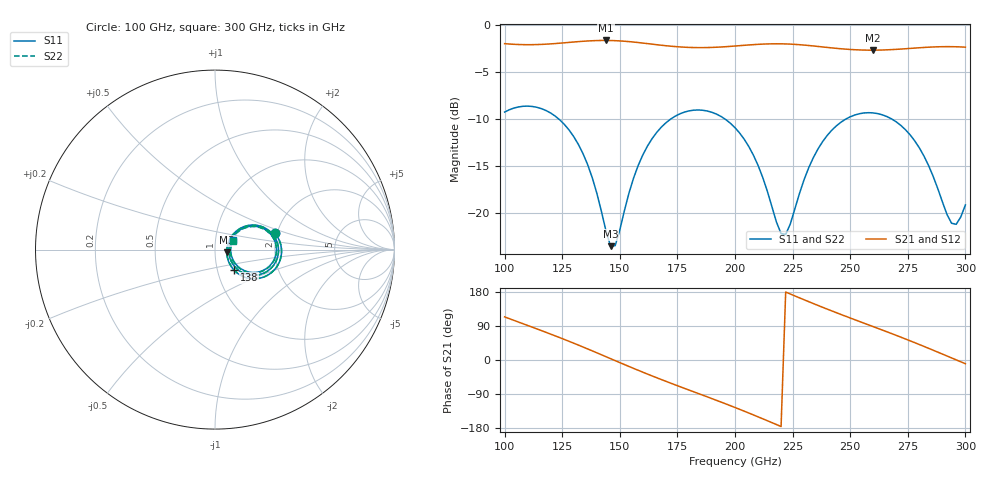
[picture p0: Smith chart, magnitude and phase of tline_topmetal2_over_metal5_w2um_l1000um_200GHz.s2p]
#  GHZ S DB R 50
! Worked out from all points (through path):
!   101 points, 100 GHz to 300 GHz, reference 50 ohm
!   highest |S21| = -1.64 dB at 144 GHz (marker M1); lowest = -2.7 dB at 260 GHz (marker M2)
!   group delay of S21, straight-line fit = 6.72 ps
!   lowest |S11| = -23.5 dB at 146 GHz (marker M3), VSWR 1.14, Z = 56.9 - j1.84 ohm
!   |S11| at or under -10 dB: 123.6 GHz to 172 GHz (48.37 GHz wide, 32.7 % of centre); 195.8 GHz to 248 GHz (52.19 GHz wide, 23.5 % of centre); 268.2 GHz to end of sweep
!   |S22| runs from -23.4 to -8.6 dB; largest |S21 - S12| = 9.4e-14
!   S11 on the Smith chart (normalised r, x): 100 GHz: 1.94, +0.41; 138 GHz: 1.20, -0.28; 300 GHz: 1.21, +0.13
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100  -9.24 15.5  -1.98 113.8  -1.98 113.8  -9.24 15.5
118  -9.08 -18.1  -2.03 72.9  -2.03 72.9  -9.08 -18.1
126  -10.57 -32.6  -1.89 54.1  -1.89 54.1  -10.57 -32.6
134  -13.64 -44.6  -1.73 34.4  -1.73 34.4  -13.63 -44.6
138  -16.18 -47.2  -1.67 24.2  -1.67 24.2  -16.16 -47.1
144  -21.86 -32.1  -1.64 8.7  -1.64 8.7  -21.79 -31.8
146  -23.47 -13.8  -1.65 3.5  -1.65 3.5  -23.37 -13.8
148  -23.41 9.2  -1.66 -1.7  -1.66 -1.7  -23.30 9.0
158  -14.90 40.4  -1.86 -27.2  -1.86 -27.2  -14.88 40.0
168  -10.85 27.0  -2.14 -51.5  -2.14 -51.5  -10.84 26.7
184  -9.02 -1.3  -2.40 -88.3  -2.40 -88.3  -9.01 -1.5
200  -10.90 -29.2  -2.23 -125.4  -2.23 -125.4  -10.89 -29.3
210  -14.89 -41.1  -2.05 -150.0  -2.05 -150.0  -14.86 -41.1
220  -22.14 -11.5  -2.00 -175.5  -2.00 -175.5  -21.96 -11.6
224  -21.12 22.0  -2.03 174.2  -2.03 174.2  -20.96 21.0
234  -14.07 37.3  -2.22 149.0  -2.22 149.0  -14.04 36.4
246  -10.31 20.8  -2.52 120.2  -2.52 120.2  -10.30 20.0
260  -9.33 -3.1  -2.67 88.0  -2.67 88.0  -9.32 -3.9
268  -9.97 -16.7  -2.61 69.6  -2.61 69.6  -9.96 -17.5
280  -13.03 -33.9  -2.41 40.9  -2.41 40.9  -13.03 -34.8
294  -21.04 -9.1  -2.30 5.5  -2.30 5.5  -21.12 -10.1
300  -19.09 27.8  -2.35 -9.8  -2.35 -9.8  -19.16 27.3
